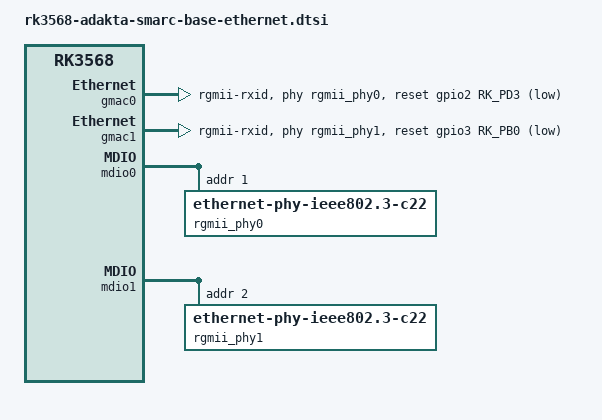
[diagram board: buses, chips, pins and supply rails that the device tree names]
// SPDX-License-Identifier: (GPL-2.0+ OR MIT)
/*
 * Copyright (c) 2024 Adakta, Ltd.
 *
 */

/ {
	aliases {
		ethernet0 = &gmac0;
		ethernet1 = &gmac1;
	};
};

&pinctrl {
	rtl8211f {
		/omit-if-no-ref/
		rtl8211f_0_rst: rtl8211f-0-rst {
			rockchip,pins = <2 RK_PD3 RK_FUNC_GPIO &pcfg_pull_none>;
		};

		/omit-if-no-ref/
		rtl8211f_0_int: rtl8211f-0-int {
			rockchip,pins = <2 RK_PD1 RK_FUNC_GPIO &pcfg_pull_up>;
		};

		/omit-if-no-ref/
		rtl8211f_1_rst: rtl8211f-1-rst {
			rockchip,pins = <3 RK_PB0 RK_FUNC_GPIO &pcfg_pull_none>;
		};

		/omit-if-no-ref/
		rtl8211f_1_int: rtl8211f-1-int {
			rockchip,pins = <3 RK_PA7 RK_FUNC_GPIO &pcfg_pull_up>;
		};
	};
};

&gmac0 {
	assigned-clocks = <&cru SCLK_GMAC0_RX_TX>, <&cru SCLK_GMAC0>;
	assigned-clock-parents = <&cru SCLK_GMAC0_RGMII_SPEED>, <&cru CLK_MAC0_2TOP>;
	assigned-clock-rates = <0>, <125000000>;

	clock_in_out = "output";
	phy-handle = <&rgmii_phy0>;
	phy-mode = "rgmii-rxid";
	pinctrl-names = "default";
	pinctrl-0 = <&gmac0_miim
		     &gmac0_tx_bus2
		     &gmac0_rx_bus2
		     &gmac0_rgmii_clk
		     &gmac0_rgmii_bus>;

	snps,no-vlhash;
	snps,reset-gpio = <&gpio2 RK_PD3 GPIO_ACTIVE_LOW>;
	snps,reset-active-low;
	/* Reset time is 20ms, 100ms for rtl8211f */
	snps,reset-delays-us = <0 20000 100000>;

	tx_delay = <0x44>;
	rx_delay = <0x00>;

	status = "okay";
};

&gmac1 {
	assigned-clocks = <&cru SCLK_GMAC1_RX_TX>, <&cru SCLK_GMAC1>;
	assigned-clock-parents = <&cru SCLK_GMAC1_RGMII_SPEED>, <&cru CLK_MAC1_2TOP>;
	assigned-clock-rates = <0>, <125000000>;

	clock_in_out = "output";
	phy-handle = <&rgmii_phy1>;
	phy-mode = "rgmii-rxid";
	pinctrl-names = "default";
	pinctrl-0 = <&gmac1m1_miim
		     &gmac1m1_tx_bus2
		     &gmac1m1_rx_bus2
		     &gmac1m1_rgmii_clk
		     &gmac1m1_rgmii_bus>;

	snps,no-vlhash;
	snps,reset-gpio = <&gpio3 RK_PB0 GPIO_ACTIVE_LOW>;
	snps,reset-active-low;
	/* Reset time is 20ms, 100ms for rtl8211f */
	snps,reset-delays-us = <0 20000 100000>;

	tx_delay = <0x44>;
	rx_delay = <0x00>;

	status = "okay";
};

&mdio0 {
	rgmii_phy0: ethernet-phy@1 {
		compatible = "ethernet-phy-ieee802.3-c22";
		reg = <1>;
		pinctrl-0 = <&rtl8211f_0_rst>;
		pinctrl-names = "default";
	};
};

&mdio1 {
	rgmii_phy1: ethernet-phy@2 {
		compatible = "ethernet-phy-ieee802.3-c22";
		reg = <2>;
		pinctrl-0 = <&rtl8211f_1_rst>;
		pinctrl-names = "default";
	};
};
